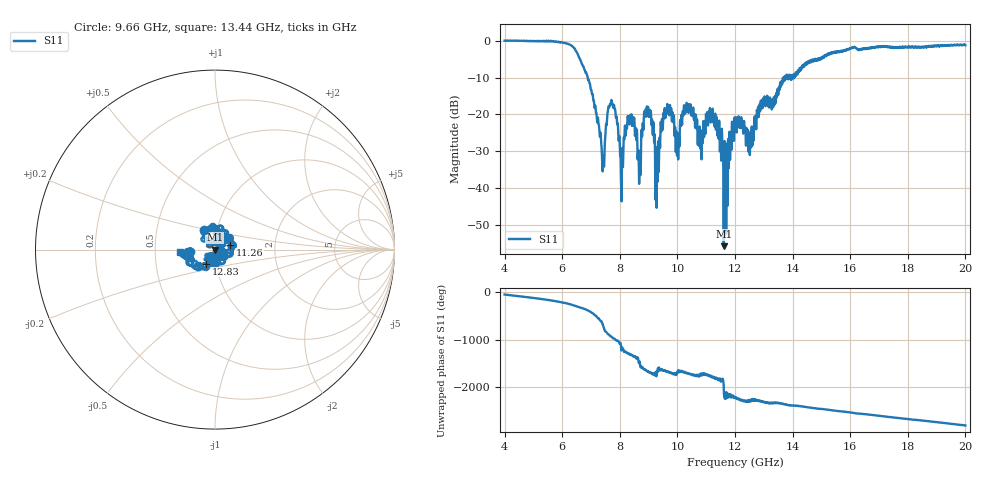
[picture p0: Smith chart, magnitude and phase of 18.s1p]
[Version] 2.0
! Rohde & Schwarz Vector Network Analyzer
! Rohde-Schwarz,ZNL20-2Port,1323001220200009,1.71.1.10-23.02.1.238
! Port Assignments:
! Nominal Port -> Actual Test Port
!  1 -> 1
! Created: GMT+2 2025-01-17 12:50:09
# Hz S RI R 50
[Number of Ports] 1
! freq[Hz]  S11[Re]  S11[Im]
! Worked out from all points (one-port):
!   16001 points, 4 GHz to 20 GHz, reference 50 ohm
!   lowest |S11| = -55.8 dB at 11.61 GHz (marker M1), VSWR 1.00, Z = 49.8 + j0.0522 ohm
!   |S11| at or under -10 dB: 6.884 GHz to 13.7 GHz (6.814 GHz wide, 66.2 % of centre); 13.71201 GHz to 13.73988 GHz (27.88 MHz wide, 0.203 % of centre); 13.9414 GHz to 13.96398 GHz (22.59 MHz wide, 0.162 % of centre)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
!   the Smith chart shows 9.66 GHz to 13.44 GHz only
!   S11 on the Smith chart (normalised r, x): 9.66 GHz: 0.87, +0.19; 11.26 GHz: 1.18, +0.06; 12.83 GHz: 0.89, -0.14; 13.44 GHz: 0.68, -0.02
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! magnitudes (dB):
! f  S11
! 4 GHz  0.0
! 6 GHz  -0.5
! 6.892 GHz  -10.4
! 7.398 GHz  -35.3
! 7.724 GHz  -16.7
! 8 GHz  -28.9
! 8.083 GHz  -29.3
! 8.343 GHz  -22.7
! 8.687 GHz  -31.0
! 8.824 GHz  -23.7
! 9.003 GHz  -20.5
! 9.298 GHz  -29.2
! 9.489 GHz  -24.1
! 9.66 GHz  -18.0
! 10 GHz  -25.7
! 10.29 GHz  -19.5
! 10.78 GHz  -23.6
! 11.26 GHz  -21.1
! 11.61 GHz  -55.8
! 11.68 GHz  -27.9
! 12 GHz  -22.4
! 12.54 GHz  -24.8
! 12.83 GHz  -20.7
! 13.44 GHz  -14.3
! 14 GHz  -10.2
! 16 GHz  -2.0
! 18 GHz  -1.6
! 20 GHz  -1.2
